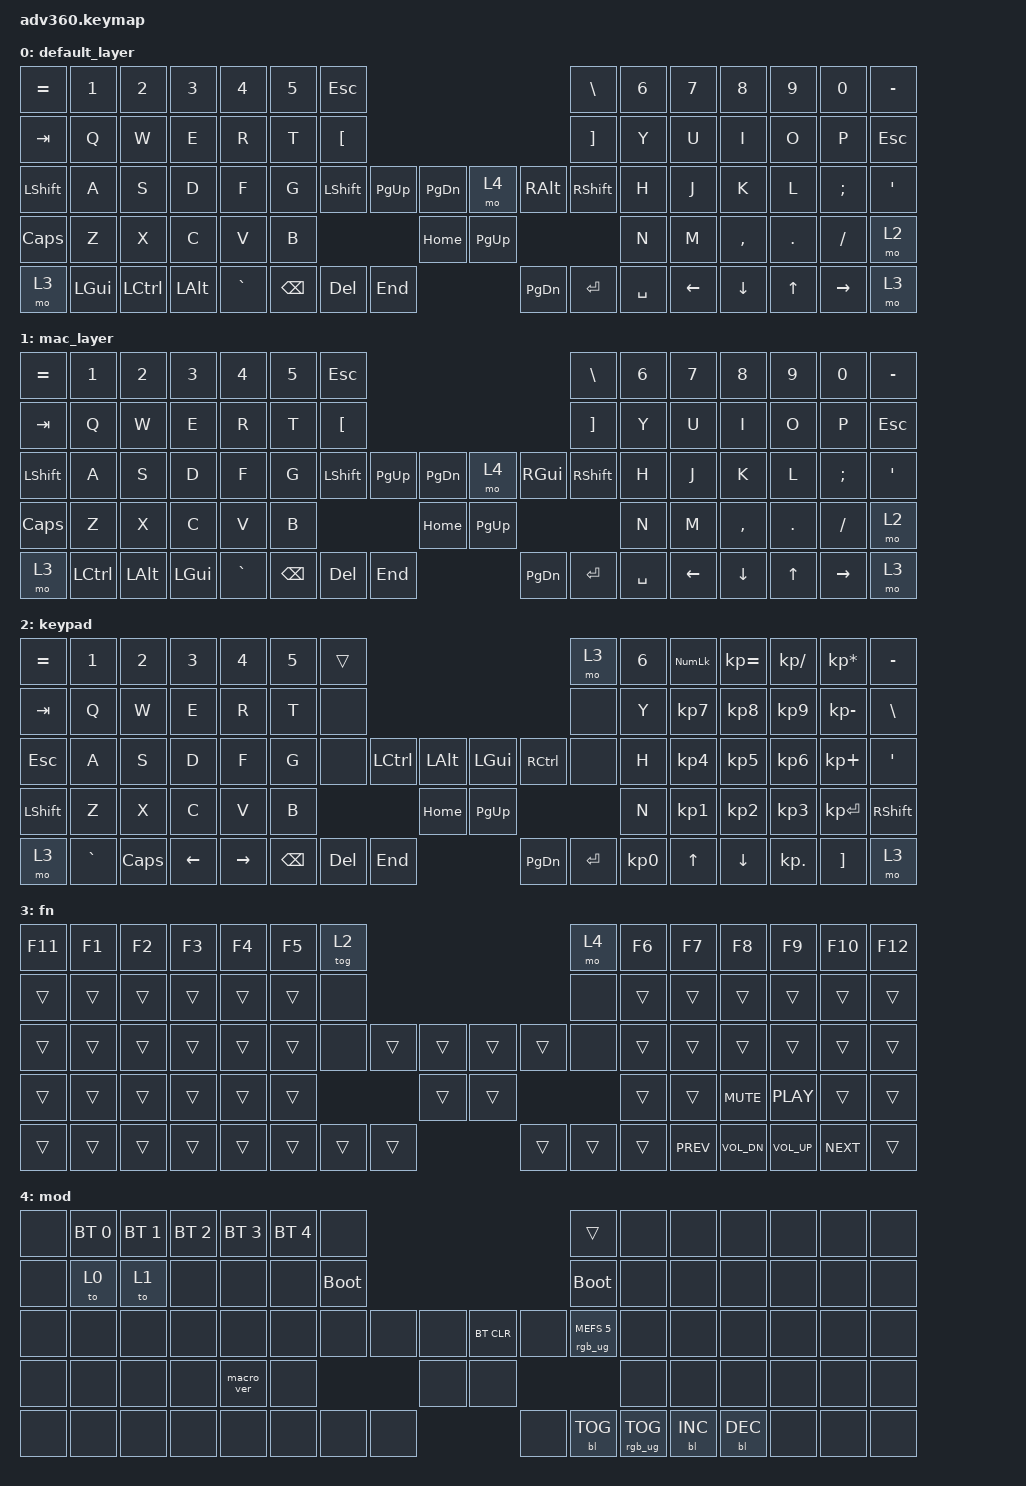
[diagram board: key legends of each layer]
#include <behaviors.dtsi>
#include <dt-bindings/zmk/keys.h>
#include <dt-bindings/zmk/bt.h>
#include <dt-bindings/zmk/rgb.h>
#include <dt-bindings/zmk/backlight.h>

/ {
    behaviors {
      #include "macros.dtsi"
      #include "version.dtsi"
      #ifndef VERSION_MACRO
      macro_ver: macro_ver {
        compatible = "zmk,behavior-macro";
        label = "macro_version";
        #binding-cells = <0>;
        bindings = <&kp RET>;
      };
      #endif

      hm: homerow_mods {
          compatible = "zmk,behavior-hold-tap";
          label = "HOMEROW_MODS";
          #binding-cells = <2>;
          tapping-term-ms = <200>;
          quick_tap_ms = <175>;
          flavor = "tap-preferred";
          bindings = <&kp>, <&kp>;
      };
    };

  keymap {
    compatible = "zmk,keymap";

    default_layer {
      bindings = <
        &kp EQUAL &kp N1    &kp N2    &kp N3    &kp N4     &kp N5 &kp ESC                                                           &kp BSLH  &kp N6 &kp N7 &kp N8     &kp N9   &kp N0    &kp MINUS
        &kp TAB   &kp Q     &kp W     &kp E     &kp R      &kp T  &kp LBKT                                                          &kp RBKT  &kp Y  &kp U  &kp I      &kp O    &kp P     &kp ESC
        &kp LSHFT &kp A     &kp S     &kp D     &kp F      &kp G  &kp LSHFT       &kp PG_UP &kp PG_DN &mo 4     &kp RALT            &kp RSHFT &kp H  &kp J  &kp K      &kp L    &kp SEMI  &kp SQT
        &kp CAPS  &kp Z     &kp X     &kp C     &kp V      &kp B                            &kp HOME  &kp PG_UP                               &kp N  &kp M  &kp COMMA  &kp DOT  &kp FSLH  &mo 2
        &mo 3     &kp LGUI  &kp LCTRL &kp LALT  &kp GRAVE               &kp BSPC &kp DEL    &kp END   &kp PG_DN &kp ENTER &kp SPACE                  &kp LEFT &kp DOWN &kp UP   &kp RIGHT &mo 3
      >;
    };
    mac_layer {
      bindings = <
        &kp EQUAL &kp N1    &kp N2    &kp N3    &kp N4     &kp N5 &kp ESC                                                           &kp BSLH  &kp N6 &kp N7 &kp N8     &kp N9   &kp N0    &kp MINUS
        &kp TAB   &kp Q     &kp W     &kp E     &kp R      &kp T  &kp LBKT                                                          &kp RBKT  &kp Y  &kp U  &kp I      &kp O    &kp P     &kp ESC
        &kp LSHFT &kp A     &kp S     &kp D     &kp F      &kp G  &kp LSHFT       &kp PG_UP &kp PG_DN &mo 4     &kp RGUI            &kp RSHFT &kp H  &kp J  &kp K      &kp L    &kp SEMI  &kp SQT
        &kp CAPS  &kp Z     &kp X     &kp C     &kp V      &kp B                            &kp HOME  &kp PG_UP                               &kp N  &kp M  &kp COMMA  &kp DOT  &kp FSLH  &mo 2
        &mo 3     &kp LCTRL &kp LALT  &kp LGUI  &kp GRAVE               &kp BSPC &kp DEL    &kp END   &kp PG_DN &kp ENTER &kp SPACE                  &kp LEFT &kp DOWN &kp UP   &kp RIGHT &mo 3
      >;
    };
    keypad {
      bindings = <
        &kp EQUAL &kp N1    &kp N2   &kp N3   &kp N4     &kp N5 &trans                                                           &mo 3 &kp N6 &kp KP_NUM &kp KP_EQUAL &kp KP_DIVIDE &kp KP_MULTIPLY &kp MINUS
        &kp TAB   &kp Q     &kp W    &kp E    &kp R      &kp T  &none                                                            &none &kp Y  &kp KP_N7  &kp KP_N8    &kp KP_N9     &kp KP_MINUS    &kp BSLH
        &kp ESC   &kp A     &kp S    &kp D    &kp F      &kp G  &none           &kp LCTRL &kp LALT &kp LGUI  &kp RCTRL           &none &kp H  &kp KP_N4  &kp KP_N5    &kp KP_N6     &kp KP_PLUS     &kp SQT
        &kp LSHFT &kp Z     &kp X    &kp C    &kp V      &kp B                            &kp HOME &kp PG_UP                           &kp N  &kp KP_N1  &kp KP_N2    &kp KP_N3     &kp KP_ENTER    &kp RSHFT
        &mo 3     &kp GRAVE &kp CAPS &kp LEFT &kp RIGHT                &kp BSPC &kp DEL   &kp END  &kp PG_DN &kp ENTER &kp KP_N0              &kp UP     &kp DOWN     &kp KP_DOT    &kp RBKT        &mo 3
      >;
    };
    fn {
      bindings = <
        &kp F11 &kp F1 &kp F2 &kp F3 &kp F4 &kp F5  &tog 2                                          &mo 4  &kp F6 &kp F7     &kp F8       &kp F9        &kp F10     &kp F12
        &trans  &trans &trans &trans &trans &trans  &none                                           &none  &trans &trans     &trans       &trans        &trans      &trans
        &trans  &trans &trans &trans &trans &trans  &none        &trans &trans &trans &trans        &none  &trans &trans     &trans       &trans        &trans      &trans
        &trans  &trans &trans &trans &trans &trans                      &trans &trans                      &trans &trans     &kp C_MUTE   &kp C_PLAY    &trans      &trans
        &trans  &trans &trans &trans &trans               &trans &trans &trans &trans &trans &trans               &kp C_PREV &kp C_VOL_DN &kp C_VOL_UP  &kp C_NEXT  &trans
      >;
    };
    mod {
      bindings = <
        &none &bt BT_SEL 0 &bt BT_SEL 1 &bt BT_SEL 2 &bt BT_SEL 3 &bt BT_SEL 4 &none                                                                     &trans                 &none        &none        &none        &none &none &none
        &none &to 0        &to 1        &none        &none        &none        &bootloader                                                               &bootloader            &none        &none        &none        &none &none &none
        &none &none        &none        &none        &none        &none        &none                   &none &none &bt BT_CLR &none                      &rgb_ug RGB_MEFS_CMD 5 &none        &none        &none        &none &none &none
        &none &none        &none        &none        &macro_ver   &none                                      &none &none                                                        &none        &none        &none        &none &none &none
        &none &none        &none        &none        &none                                       &none &none &none &none      &bl BL_TOG &rgb_ug RGB_TOG                                     &bl BL_INC   &bl BL_DEC   &none &none &none
      >;
    };
  };
};
